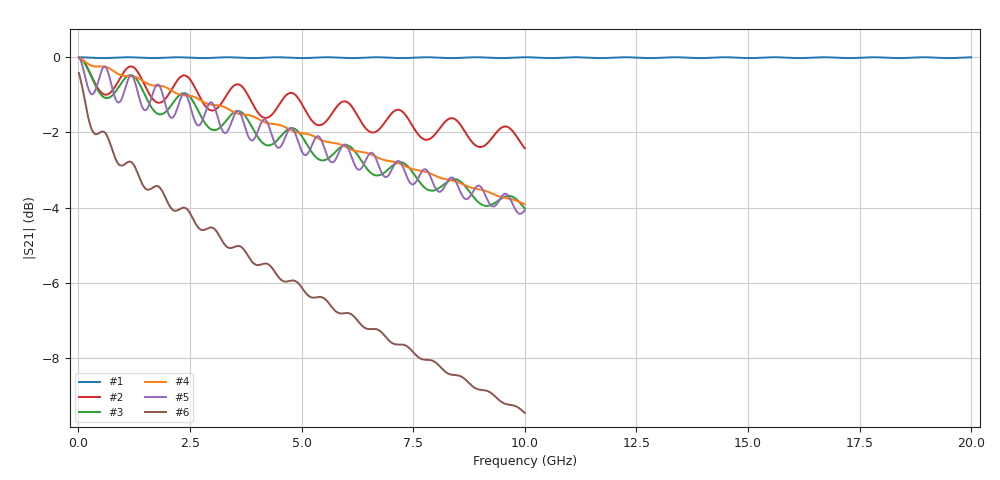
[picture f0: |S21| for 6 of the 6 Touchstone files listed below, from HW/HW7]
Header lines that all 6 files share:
! Touchstone generated by fitter/viewer
# HZ S  RI R 5.000000e+001
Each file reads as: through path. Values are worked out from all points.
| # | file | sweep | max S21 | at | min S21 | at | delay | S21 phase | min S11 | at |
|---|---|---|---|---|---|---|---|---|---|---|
| 1 | Net002.s2p | 10 MHz to 20 GHz | 0.00 dB | 14.48 GHz | 0.0 dB | 7.24 GHz | 449 ps | -178 deg at 10.01 GHz | -88.5 dB | 14.48 GHz |
| 2 | Q1Length.s2p | 10 MHz to 10 GHz | 0.00 dB | 10 MHz | -2.4 dB | 10 GHz | 417 ps | -38 deg at 5.01 GHz | -38.0 dB | 10 MHz |
| 3 | Q1moreDf.s2p | 10 MHz to 10 GHz | 0.00 dB | 10 MHz | -4.0 dB | 10 GHz | 412 ps | -32 deg at 5.01 GHz | -38.3 dB | 10 MHz |
| 4 | Q1moreDk.s2p | 10 MHz to 10 GHz | -0.01 dB | 10 MHz | -3.9 dB | 10 GHz | 766 ps | 52 deg at 5.01 GHz | -46.9 dB | 640 MHz |
| 5 | Q1moreLength.s2p | 10 MHz to 10 GHz | -0.01 dB | 10 MHz | -4.2 dB | 9.9 GHz | 834 ps | -73 deg at 5.01 GHz | -38.4 dB | 590 MHz |
| 6 | Q1morewidth.s2p | 10 MHz to 10 GHz | -0.42 dB | 10 MHz | -9.5 dB | 10 GHz | 811 ps | -41 deg at 5.01 GHz | -26.5 dB | 10 MHz |
